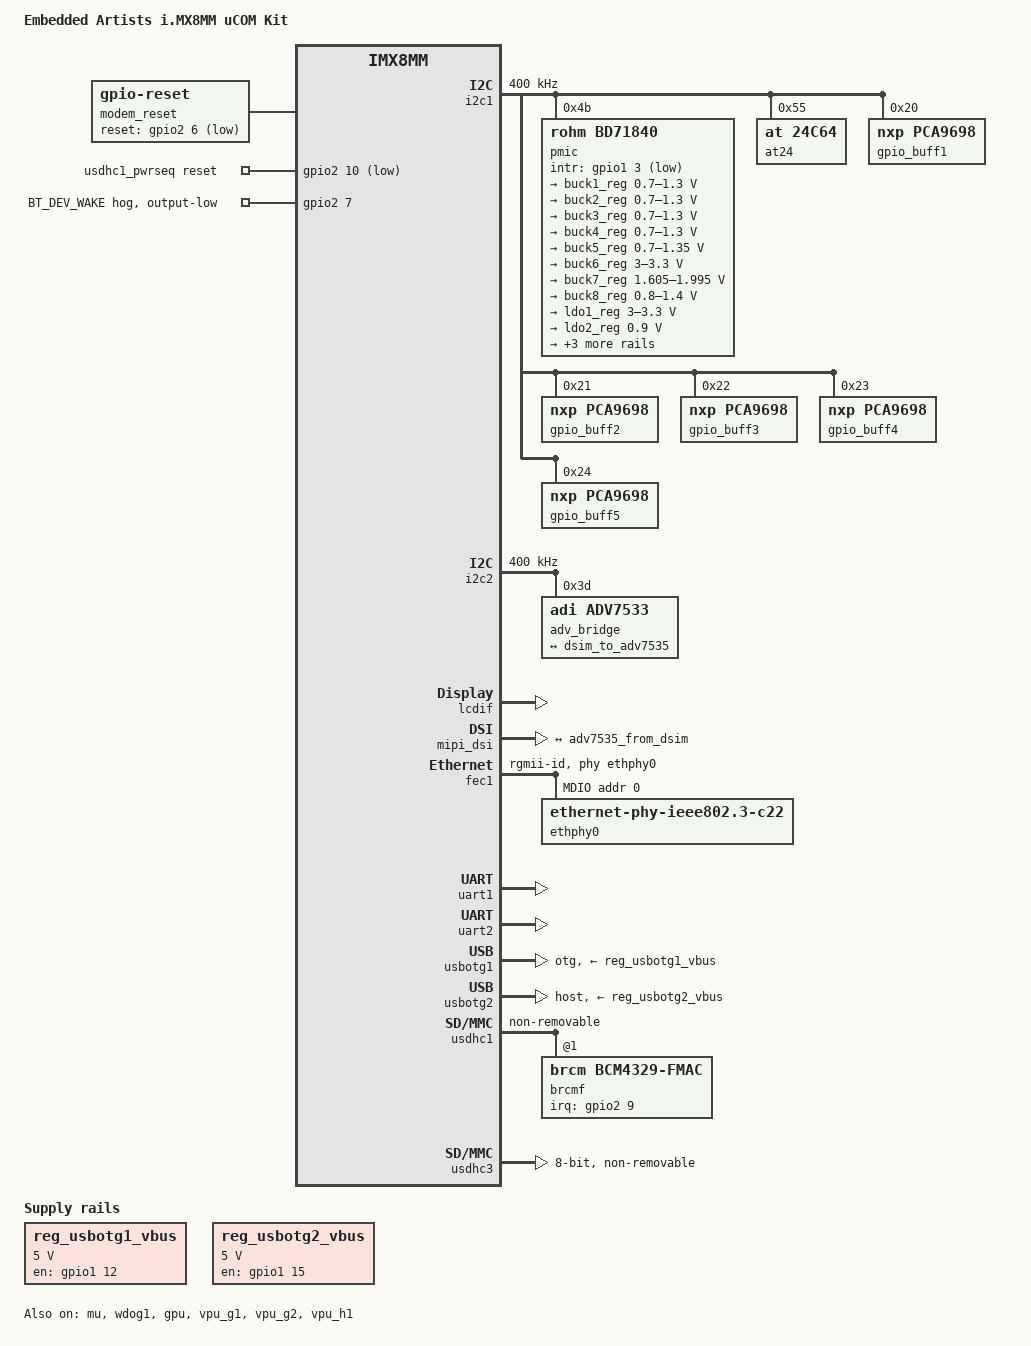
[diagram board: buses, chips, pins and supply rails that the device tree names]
/*
 * Copyright 2018 NXP
 *
 * This program is free software; you can redistribute it and/or
 * modify it under the terms of the GNU General Public License
 * as published by the Free Software Foundation; either version 2
 * of the License, or (at your option) any later version.
 *
 * This program is distributed in the hope that it will be useful,
 * but WITHOUT ANY WARRANTY; without even the implied warranty of
 * MERCHANTABILITY or FITNESS FOR A PARTICULAR PURPOSE.  See the
 * GNU General Public License for more details.
 */

/dts-v1/;

#include "imx8mm.dtsi"

/ {
	model = "Embedded Artists i.MX8MM uCOM Kit";
	compatible = "fsl,imx8mmea-ucom", "fsl,imx8mm";

	chosen {
		bootargs = "console=ttymxc1,115200 earlycon=ec_imx6q,0x30890000,115200";
		stdout-path = &uart2;
	};

	modem_reset: modem-reset {
		compatible = "gpio-reset";
		reset-gpios = <&gpio2 6 GPIO_ACTIVE_LOW>;
		initially-in-reset;
		reset-delay-us = <2000>;
		reset-post-delay-ms = <100>;
		#reset-cells = <0>;
	};

	regulators {
		compatible = "simple-bus";
		#address-cells = <1>;
		#size-cells = <0>;

		reg_usbotg1_vbus: regulator-usbotg1 {
			compatible = "regulator-fixed";
			regulator-name = "usbotg_vbus";
			regulator-min-microvolt = <5000000>;
			regulator-max-microvolt = <5000000>;
			gpio = <&gpio1 12 GPIO_ACTIVE_HIGH>;
			off-on-delay = <20000>;
			enable-active-high;
		};
		reg_usbotg2_vbus: regulator-usbotg2 {
			compatible = "regulator-fixed";
			regulator-name = "usbotg_vbus";
			regulator-min-microvolt = <5000000>;
			regulator-max-microvolt = <5000000>;
			gpio = <&gpio1 15 GPIO_ACTIVE_HIGH>;
			off-on-delay = <20000>;
			enable-active-high;
		};

		/* add construct for "fmac" to control WL_REG_ON signal */
		usdhc1_pwrseq: usdhc1_pwrseq {
			compatible = "mmc-pwrseq-simple";
			reset-gpios = <&gpio2 10 GPIO_ACTIVE_LOW>; /* WL REG ON */
			status = "okay";
		};

	};
};

&clk {
	assigned-clocks = <&clk IMX8MM_AUDIO_PLL1>, <&clk IMX8MM_AUDIO_PLL2>;
	assigned-clock-rates = <722534400>, <722534400>;
};

&iomuxc {
	pinctrl-names = "default";
	pinctrl-0 = <&pinctrl_test>;

	imx8mmea-ucom {
		pinctrl_test: tstgrp {
			fsl,pins = <
				/* From: was not in original dts */
				MX8MM_IOMUXC_SD1_DATA6_GPIO2_IO8	0xC6

				/* From: pinctrl_usdhc2_gpio: usdhc2grpgpio */
				MX8MM_IOMUXC_SD2_RESET_B_GPIO2_IO19	0xC6
				MX8MM_IOMUXC_SD2_CD_B_GPIO2_IO12	0xC6

				/* From: pinctrl_usdhc2: usdhc2grp */
				MX8MM_IOMUXC_SD2_CLK_GPIO2_IO13		0xC6
				MX8MM_IOMUXC_SD2_CMD_GPIO2_IO14		0xC6
				MX8MM_IOMUXC_SD2_DATA0_GPIO2_IO15	0xC6
				MX8MM_IOMUXC_SD2_DATA1_GPIO2_IO16	0xC6
				MX8MM_IOMUXC_SD2_DATA2_GPIO2_IO17	0xC6
				MX8MM_IOMUXC_SD2_DATA3_GPIO2_IO18	0xC6
				MX8MM_IOMUXC_GPIO1_IO04_GPIO1_IO4	0xC6

				/* From: pinctrl_sai2: sai2grp */
				MX8MM_IOMUXC_SAI2_MCLK_GPIO4_IO27	0xd6
				MX8MM_IOMUXC_SAI2_TXD0_GPIO4_IO26	0xd6
				MX8MM_IOMUXC_SAI2_TXC_GPIO4_IO25	0xd6
				MX8MM_IOMUXC_SAI2_RXD0_GPIO4_IO23	0xd6
				MX8MM_IOMUXC_SAI2_TXFS_GPIO4_IO24	0xd6

				/* From: pinctrl_flexspi0: flexspi0grp */
				MX8MM_IOMUXC_NAND_ALE_GPIO3_IO0		0xC6
				MX8MM_IOMUXC_NAND_CE0_B_GPIO3_IO1	0xC6
				MX8MM_IOMUXC_NAND_DATA00_GPIO3_IO6	0xC6
				MX8MM_IOMUXC_NAND_DATA01_GPIO3_IO7	0xC6
				MX8MM_IOMUXC_NAND_DATA02_GPIO3_IO8	0xC6
				MX8MM_IOMUXC_NAND_DATA03_GPIO3_IO9	0xC6

				/* From: pinctrl_pwm1: pwm1grp */
				MX8MM_IOMUXC_GPIO1_IO01_GPIO1_IO1	0xC6

				/* From: pinctrl_i2c3: i2c3grp */
				MX8MM_IOMUXC_I2C3_SCL_GPIO5_IO18	0xC6
				MX8MM_IOMUXC_I2C3_SDA_GPIO5_IO19	0xC6

				/* From: pinctrl_exp_conn: expconngrp */
										/* GPIO_H Not Connected */
										/* GPIO_J Not Connected */
				/*MX8MM_IOMUXC_GPIO1_IO00_GPIO1_IO0	0xC6       GPIO_K ADV7535 INT (on adapter board) */
				/*MX8MM_IOMUXC_GPIO1_IO08_GPIO1_IO8	0xC6	   GPIO_P MIPI_DSI_EN */
										/* GPIO_Q Not Connected */
										/* GPIO_R Not Connected */
										/* GPIO_S Not Connected */
										/* GPIO_T Not Connected */
										/* GPIO_U Not Connected */
										/* GPIO_V Not Connected */
										/* GPIO_W Not Connected */
										/* GPIO_X Not Connected */
										/* GPIO_Y Not Connected */
										/* GPIO_Z Not Connected */
										/* GPIO_AA Not Connected */
										/* GPIO_AB Not Connected */
										/* GPIO_AC Not Connected */
										/* GPIO_AD Not Connected */
										/* GPIO_AE Not Connected */
										/* GPIO_AF Not Connected */
										/* GPIO_AG Not Connected */
										/* GPIO_AH Not Connected */

				/*MX8MM_IOMUXC_SD2_WP_GPIO2_IO20	0xC6	   GPIO_AP MIDI DSI (on adapter board) */
										/* GPIO_AQ Not Connected */
										/* GPIO_AR Not Connected */
										/* GPIO_AS Not Connected */
										/* GPIO_AT Not Connected */
										/* GPIO_AU Not Connected */
										/* GPIO_AV Not Connected */
			>;

		};

		pinctrl_mipi_dsi_en: mipi_dsi_en {
			fsl,pins = <
				MX8MM_IOMUXC_GPIO1_IO08_GPIO1_IO8		0x16
			>;
		};

		pinctrl_fec1: fec1grp {
			fsl,pins = <
				MX8MM_IOMUXC_ENET_MDC_ENET1_MDC		0x3
				MX8MM_IOMUXC_ENET_MDIO_ENET1_MDIO	0x3
				MX8MM_IOMUXC_ENET_TD3_ENET1_RGMII_TD3	0x1f
				MX8MM_IOMUXC_ENET_TD2_ENET1_RGMII_TD2	0x1f
				MX8MM_IOMUXC_ENET_TD1_ENET1_RGMII_TD1	0x1f
				MX8MM_IOMUXC_ENET_TD0_ENET1_RGMII_TD0	0x1f
				MX8MM_IOMUXC_ENET_RD3_ENET1_RGMII_RD3	0x91
				MX8MM_IOMUXC_ENET_RD2_ENET1_RGMII_RD2	0x91
				MX8MM_IOMUXC_ENET_RD1_ENET1_RGMII_RD1	0x91
				MX8MM_IOMUXC_ENET_RD0_ENET1_RGMII_RD0	0x91
				MX8MM_IOMUXC_ENET_TXC_ENET1_RGMII_TXC	0x1f
				MX8MM_IOMUXC_ENET_RXC_ENET1_RGMII_RXC	0x91
				MX8MM_IOMUXC_ENET_RX_CTL_ENET1_RGMII_RX_CTL	0x91
				MX8MM_IOMUXC_ENET_TX_CTL_ENET1_RGMII_TX_CTL	0x1f
				MX8MM_IOMUXC_NAND_READY_B_GPIO3_IO16	0x19
			>;
		};

		pinctrl_i2c1: i2c1grp {
			fsl,pins = <
				MX8MM_IOMUXC_I2C1_SCL_I2C1_SCL			0x400001c3
				MX8MM_IOMUXC_I2C1_SDA_I2C1_SDA			0x400001c3
			>;
		};

		pinctrl_i2c2: i2c2grp {
			fsl,pins = <
				MX8MM_IOMUXC_I2C2_SCL_I2C2_SCL			0x400001c3
				MX8MM_IOMUXC_I2C2_SDA_I2C2_SDA			0x400001c3
			>;
		};

		pinctrl_pcie0: pcie0grp {
			fsl,pins = <
				MX8MM_IOMUXC_I2C4_SCL_PCIE1_CLKREQ_B	0x61 /* open drain, pull up */
			>;
		};

		pinctrl_pmic: pmicirq {
			fsl,pins = <
				MX8MM_IOMUXC_GPIO1_IO03_GPIO1_IO3		0x41
			>;
		};

		pinctrl_uart1: uart1grp {
			fsl,pins = <
				MX8MM_IOMUXC_UART1_RXD_UART1_DCE_RX	0x140
				MX8MM_IOMUXC_UART1_TXD_UART1_DCE_TX	0x140
				MX8MM_IOMUXC_UART3_RXD_UART1_DCE_CTS_B	0x140
				MX8MM_IOMUXC_UART3_TXD_UART1_DCE_RTS_B	0x140
			>;
		};

		pinctrl_uart2: uart2grp {
			fsl,pins = <
				MX8MM_IOMUXC_UART2_RXD_UART2_DCE_RX	0x140
				MX8MM_IOMUXC_UART2_TXD_UART2_DCE_TX	0x140
			>;
		};

		pinctrl_usdhc1_gpio: usdhc1grpgpio {
			fsl,pins = <
				MX8MM_IOMUXC_SD1_DATA7_GPIO2_IO9	0x1c4
				MX8MM_IOMUXC_SD1_RESET_B_GPIO2_IO10	0x1c4 /* WL_REG_ON */
				MX8MM_IOMUXC_SD1_DATA4_GPIO2_IO6        0x1c4 /* BT_REG_ON */
				MX8MM_IOMUXC_SD1_DATA5_GPIO2_IO7	0xC6  /* BT_DEV_WAKE */
			>;
		};

		pinctrl_usdhc1: usdhc1grp {
			fsl,pins = <
				MX8MM_IOMUXC_SD1_CLK_USDHC1_CLK		0x190
				MX8MM_IOMUXC_SD1_CMD_USDHC1_CMD		0x1d0
				MX8MM_IOMUXC_SD1_DATA0_USDHC1_DATA0	0x1d0
				MX8MM_IOMUXC_SD1_DATA1_USDHC1_DATA1	0x1d0
				MX8MM_IOMUXC_SD1_DATA2_USDHC1_DATA2	0x1d0
				MX8MM_IOMUXC_SD1_DATA3_USDHC1_DATA3	0x1d0
			>;
		};

		pinctrl_usdhc1_100mhz: usdhc1grp100mhz {
			fsl,pins = <
				MX8MM_IOMUXC_SD1_CLK_USDHC1_CLK		0x194
				MX8MM_IOMUXC_SD1_CMD_USDHC1_CMD		0x1d4
				MX8MM_IOMUXC_SD1_DATA0_USDHC1_DATA0	0x1d4
				MX8MM_IOMUXC_SD1_DATA1_USDHC1_DATA1	0x1d4
				MX8MM_IOMUXC_SD1_DATA2_USDHC1_DATA2	0x1d4
				MX8MM_IOMUXC_SD1_DATA3_USDHC1_DATA3	0x1d4
			>;
		};

		pinctrl_usdhc1_200mhz: usdhc1grp200mhz {
			fsl,pins = <
				MX8MM_IOMUXC_SD1_CLK_USDHC1_CLK		0x196
				MX8MM_IOMUXC_SD1_CMD_USDHC1_CMD		0x1d6
				MX8MM_IOMUXC_SD1_DATA0_USDHC1_DATA0	0x1d6
				MX8MM_IOMUXC_SD1_DATA1_USDHC1_DATA1	0x1d6
				MX8MM_IOMUXC_SD1_DATA2_USDHC1_DATA2	0x1d6
				MX8MM_IOMUXC_SD1_DATA3_USDHC1_DATA3	0x1d6
			>;
		};

		pinctrl_usdhc3: usdhc3grp {
			fsl,pins = <
				MX8MM_IOMUXC_NAND_WE_B_USDHC3_CLK		0x190
				MX8MM_IOMUXC_NAND_WP_B_USDHC3_CMD		0x1d0
				MX8MM_IOMUXC_NAND_DATA04_USDHC3_DATA0		0x1d0
				MX8MM_IOMUXC_NAND_DATA05_USDHC3_DATA1		0x1d0
				MX8MM_IOMUXC_NAND_DATA06_USDHC3_DATA2		0x1d0
				MX8MM_IOMUXC_NAND_DATA07_USDHC3_DATA3		0x1d0
				MX8MM_IOMUXC_NAND_RE_B_USDHC3_DATA4		0x1d0
				MX8MM_IOMUXC_NAND_CE2_B_USDHC3_DATA5		0x1d0
				MX8MM_IOMUXC_NAND_CE3_B_USDHC3_DATA6		0x1d0
				MX8MM_IOMUXC_NAND_CLE_USDHC3_DATA7		0x1d0
				MX8MM_IOMUXC_NAND_CE1_B_USDHC3_STROBE 		0x190
			>;
		};

		pinctrl_usdhc3_100mhz: usdhc3grp100mhz {
			fsl,pins = <
				MX8MM_IOMUXC_NAND_WE_B_USDHC3_CLK		0x194
				MX8MM_IOMUXC_NAND_WP_B_USDHC3_CMD		0x1d4
				MX8MM_IOMUXC_NAND_DATA04_USDHC3_DATA0		0x1d4
				MX8MM_IOMUXC_NAND_DATA05_USDHC3_DATA1		0x1d4
				MX8MM_IOMUXC_NAND_DATA06_USDHC3_DATA2		0x1d4
				MX8MM_IOMUXC_NAND_DATA07_USDHC3_DATA3		0x1d4
				MX8MM_IOMUXC_NAND_RE_B_USDHC3_DATA4		0x1d4
				MX8MM_IOMUXC_NAND_CE2_B_USDHC3_DATA5		0x1d4
				MX8MM_IOMUXC_NAND_CE3_B_USDHC3_DATA6		0x1d4
				MX8MM_IOMUXC_NAND_CLE_USDHC3_DATA7		0x1d4
				MX8MM_IOMUXC_NAND_CE1_B_USDHC3_STROBE 		0x194
			>;
		};

		pinctrl_usdhc3_200mhz: usdhc3grp200mhz {
			fsl,pins = <
				MX8MM_IOMUXC_NAND_WE_B_USDHC3_CLK		0x196
				MX8MM_IOMUXC_NAND_WP_B_USDHC3_CMD		0x1d6
				MX8MM_IOMUXC_NAND_DATA04_USDHC3_DATA0		0x1d6
				MX8MM_IOMUXC_NAND_DATA05_USDHC3_DATA1		0x1d6
				MX8MM_IOMUXC_NAND_DATA06_USDHC3_DATA2		0x1d6
				MX8MM_IOMUXC_NAND_DATA07_USDHC3_DATA3		0x1d6
				MX8MM_IOMUXC_NAND_RE_B_USDHC3_DATA4		0x1d6
				MX8MM_IOMUXC_NAND_CE2_B_USDHC3_DATA5		0x1d6
				MX8MM_IOMUXC_NAND_CE3_B_USDHC3_DATA6		0x1d6
				MX8MM_IOMUXC_NAND_CLE_USDHC3_DATA7		0x1d6
				MX8MM_IOMUXC_NAND_CE1_B_USDHC3_STROBE 		0x196
			>;
		};

		pinctrl_wdog: wdoggrp {
			fsl,pins = <
				MX8MM_IOMUXC_GPIO1_IO02_WDOG1_WDOG_B		0xc6
			>;
		};

		pinctrl_usbotg1: usbotg1grp {
			fsl,pins = <
				MX8MM_IOMUXC_GPIO1_IO12_GPIO1_IO12		0x1d6
				MX8MM_IOMUXC_GPIO1_IO13_USB1_OTG_OC		0x1d6
			>;
		};

		pinctrl_usbotg2: usbotg2grp {
			fsl,pins = <
				/*MX8MM_IOMUXC_GPIO1_IO14_GPIO1_IO14		0x1d6*/
				MX8MM_IOMUXC_GPIO1_IO15_GPIO1_IO15		0x1d6
			>;
		};

	};
};

&flexspi {
	status = "disabled";
};

&i2c1 {
	clock-frequency = <400000>;
	pinctrl-names = "default";
	pinctrl-0 = <&pinctrl_i2c1>;
	status = "okay";

	pmic: bd71837@4b {
		reg = <0x4b>;
		compatible = "rohm,bd71840", "rohm,bd71837";
		/* PMIC BD71837 PMIC_nINT GPIO1_IO3 */
		pinctrl-0 = <&pinctrl_pmic>;
		gpio_intr = <&gpio1 3 GPIO_ACTIVE_LOW>;

		gpo {
			rohm,drv = <0x0C>;	/* 0b0000_1100 all gpos with cmos output mode */
		};

		regulators {
			#address-cells = <1>;
			#size-cells = <0>;

			bd71837,pmic-buck2-uses-i2c-dvs;
			bd71837,pmic-buck2-dvs-voltage = <1000000>, <900000>, <0>; /* VDD_ARM: Run-Idle */

			buck1_reg: regulator@0 {
				reg = <0>;
				regulator-compatible = "buck1";
				regulator-min-microvolt = <700000>;
				regulator-max-microvolt = <1300000>;
				regulator-boot-on;
				regulator-always-on;
				regulator-ramp-delay = <1250>;
			};

			buck2_reg: regulator@1 {
				reg = <1>;
				regulator-compatible = "buck2";
				regulator-min-microvolt = <700000>;
				regulator-max-microvolt = <1300000>;
				regulator-boot-on;
				regulator-always-on;
				regulator-ramp-delay = <1250>;
			};

			buck3_reg: regulator@2 {
				reg = <2>;
				regulator-compatible = "buck3";
				regulator-min-microvolt = <700000>;
				regulator-max-microvolt = <1300000>;
			};

			buck4_reg: regulator@3 {
				reg = <3>;
				regulator-compatible = "buck4";
				regulator-min-microvolt = <700000>;
				regulator-max-microvolt = <1300000>;
			};

			buck5_reg: regulator@4 {
				reg = <4>;
				regulator-compatible = "buck5";
				regulator-min-microvolt = <700000>;
				regulator-max-microvolt = <1350000>;
				regulator-boot-on;
				regulator-always-on;
			};

			buck6_reg: regulator@5 {
				reg = <5>;
				regulator-compatible = "buck6";
				regulator-min-microvolt = <3000000>;
				regulator-max-microvolt = <3300000>;
				regulator-boot-on;
				regulator-always-on;
			};

			buck7_reg: regulator@6 {
				reg = <6>;
				regulator-compatible = "buck7";
				regulator-min-microvolt = <1605000>;
				regulator-max-microvolt = <1995000>;
				regulator-boot-on;
				regulator-always-on;
			};

			buck8_reg: regulator@7 {
				reg = <7>;
				regulator-compatible = "buck8";
				regulator-min-microvolt = <800000>;
				regulator-max-microvolt = <1400000>;
				regulator-boot-on;
				regulator-always-on;
			};

			ldo1_reg: regulator@8 {
				reg = <8>;
				regulator-compatible = "ldo1";
				regulator-min-microvolt = <3000000>;
				regulator-max-microvolt = <3300000>;
				regulator-boot-on;
				regulator-always-on;
			};

			ldo2_reg: regulator@9 {
				reg = <9>;
				regulator-compatible = "ldo2";
				regulator-min-microvolt = <900000>;
				regulator-max-microvolt = <900000>;
				regulator-boot-on;
				regulator-always-on;
			};

			ldo3_reg: regulator@10 {
				reg = <10>;
				regulator-compatible = "ldo3";
				regulator-min-microvolt = <1800000>;
				regulator-max-microvolt = <3300000>;
				regulator-boot-on;
				regulator-always-on;
			};

			ldo4_reg: regulator@11 {
				reg = <11>;
				regulator-compatible = "ldo4";
				regulator-min-microvolt = <900000>;
				regulator-max-microvolt = <1800000>;
				regulator-boot-on;
				regulator-always-on;
			};

			ldo6_reg: regulator@13 {
				reg = <13>;
				regulator-compatible = "ldo6";
				regulator-min-microvolt = <900000>;
				regulator-max-microvolt = <1800000>;
				regulator-boot-on;
				regulator-always-on;
			};
		};
	};

	at24@55 {
		compatible = "at,24c64";
		pagesize = <32>;
		reg = <0x55>;
	};

        gpio_buff1: pca9698@20 {
                compatible = "nxp,pca9698";
                reg = <0x20>;
                gpio-controller;
                #gpio-cells = <2>;
        };
        gpio_buff2: pca9698@21 {
                compatible = "nxp,pca9698";
                reg = <0x21>;
                gpio-controller;
                #gpio-cells = <2>;
        };
        gpio_buff3: pca9698@22 {
                compatible = "nxp,pca9698";
                reg = <0x22>;
                gpio-controller;
                #gpio-cells = <2>;
        };
        gpio_buff4: pca9698@23 {
                compatible = "nxp,pca9698";
                reg = <0x23>;
                gpio-controller;
                #gpio-cells = <2>;
        };
        gpio_buff5: pca9698@24 {
                compatible = "nxp,pca9698";
                reg = <0x24>;
                gpio-controller;
                #gpio-cells = <2>;
        };
};

&i2c2 {
	clock-frequency = <400000>;
	pinctrl-names = "default";
	pinctrl-0 = <&pinctrl_i2c2>;
	status = "okay";

	adv_bridge: adv7535@3d {
		compatible = "adi,adv7533";
		reg = <0x3d>;
		adi,dsi-lanes = <4>;
		status = "okay";

		port {
			adv7535_from_dsim: endpoint {
				remote-endpoint = <&dsim_to_adv7535>;
			};
		};
	};
};

&i2c3 {
	status = "disabled";
};

&lcdif {
	status = "okay";
};

&mipi_dsi {
	status = "okay";

	port@1 {
		dsim_to_adv7535: endpoint {
			remote-endpoint = <&adv7535_from_dsim>;
		};
	};
};

&mu {
	status = "okay";
};

&sai2 {
	status = "disabled";
};

&fec1 {
	pinctrl-names = "default";
	pinctrl-0 = <&pinctrl_fec1>;
	phy-mode = "rgmii-id";
	phy-handle = <&ethphy0>;
	fsl,magic-packet;
	status = "okay";

	mdio {
		#address-cells = <1>;
		#size-cells = <0>;

		ethphy0: ethernet-phy@0 {
			compatible = "ethernet-phy-ieee802.3-c22";
			reg = <0>;
			at803x,led-act-blind-workaround;
			at803x,eee-okay;
			at803x,vddio-1p8v;
		};
	};
};

&pcie0{
/*	pinctrl-names = "default";
	pinctrl-0 = <&pinctrl_pcie0>;
	reset-gpio = <&gpio_buff 7 GPIO_ACTIVE_LOW>;   /* PCIE_PERST_L * /
	disable-gpio = <&gpio_buff 1 GPIO_ACTIVE_LOW>; /* WL REG ON * /	
	ext_osc = <1>;*/
	status = "disabled";
};

&uart1 { /* Bluetooth UART */
	pinctrl-names = "default";
	pinctrl-0 = <&pinctrl_uart1>;
	status = "okay";

	assigned-clocks = <&clk IMX8MM_CLK_UART1>;
	assigned-clock-parents = <&clk IMX8MM_SYS_PLL1_80M>;

	resets = <&modem_reset>;
	fsl,uart-has-rtscts;
};

&uart2 { /* Console */
	pinctrl-names = "default";
	pinctrl-0 = <&pinctrl_uart2>;
	status = "okay";
};

&uart3 { /* Disabled as pins are used by Bluetooth for RTS/CTS */
	status = "disabled";
};

&usbotg1 {
	dr_mode = "otg";
	picophy,pre-emp-curr-control = <3>;
	picophy,dc-vol-level-adjust = <7>;
	status = "okay";

	pinctrl-names = "default";
	pinctrl-0 = <&pinctrl_usbotg1>;
	vbus-supply = <&reg_usbotg1_vbus>;
};

&usbotg2 {
	dr_mode = "host";
	picophy,pre-emp-curr-control = <3>;
	picophy,dc-vol-level-adjust = <7>;
	status = "okay";

	pinctrl-names = "default";
	pinctrl-0 = <&pinctrl_usbotg2>;
	vbus-supply = <&reg_usbotg2_vbus>;
};

/* M.2 connector */
&usdhc1 {
	#address-cells = <1>;
	#size-cells = <0>;
	pinctrl-names = "default", "state_100mhz", "state_200mhz";
	pinctrl-0 = <&pinctrl_usdhc1>, <&pinctrl_usdhc1_gpio>;
	pinctrl-1 = <&pinctrl_usdhc1_100mhz>, <&pinctrl_usdhc1_gpio>;
	pinctrl-2 = <&pinctrl_usdhc1_200mhz>, <&pinctrl_usdhc1_gpio>;

	keep-power-in-suspend;
	non-removable;
	cd-broken;
	pm-ignore-notify;
	wifi-host;

	mmc-pwrseq = <&usdhc1_pwrseq>;
	status = "okay";

	brcmf: bcrmf@1 {
		reg = <1>;
		compatible = "brcm,bcm4329-fmac";
		interrupt-parent = <&gpio2>;
		interrupts = <9 IRQ_TYPE_LEVEL_LOW>;  /* WL_HOST_WAKE = GPIO2_IO09 active low for M.2. */
		interrupt-names = "host-wake";
	};
};

&gpio2 {
	bt_dev_wake_gpio { /* TODO: Could likely remove this but it needs to be verified */
		gpio-hog;
		gpios = <7 GPIO_ACTIVE_HIGH>;
		output-low;
		line-name = "BT_DEV_WAKE";
	};
};

/* uSD connector on carrier board */
&usdhc2 {
	status = "disabled";
};

/* eMMC */
&usdhc3 {
	pinctrl-names = "default", "state_100mhz", "state_200mhz";
	pinctrl-0 = <&pinctrl_usdhc3>;
	pinctrl-1 = <&pinctrl_usdhc3_100mhz>;
	pinctrl-2 = <&pinctrl_usdhc3_200mhz>;
	bus-width = <8>;
	non-removable;
	status = "okay";
};

&wdog1 {
	pinctrl-names = "default";
	pinctrl-0 = <&pinctrl_wdog>;
	fsl,ext-reset-output;
	status = "okay";
};

&pwm1 {
	status = "disabled";
};

&A53_0 {
	arm-supply = <&buck2_reg>;
};

&gpu {
	status = "okay";
};

&vpu_g1 {
	status = "okay";
};

&vpu_g2 {
	status = "okay";
};

&vpu_h1 {
	status = "okay";
};
